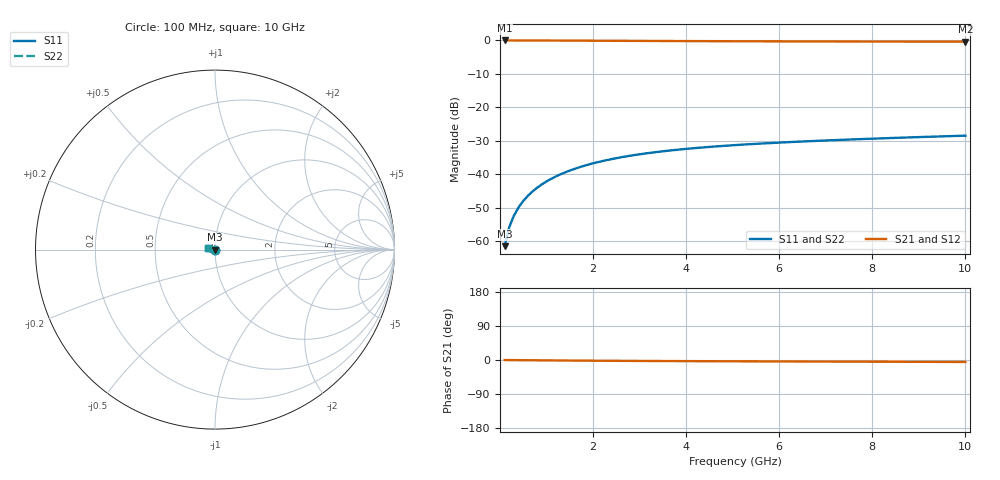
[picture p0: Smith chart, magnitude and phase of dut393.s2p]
! Touchstone file exported from HFSS 2024.1.0
!  File:  C:/UserFiles/LocalFiles/RDL_TSV_Batchsim/temp_TSV1_393_1779624048.aedt
!  Generated:  08:09:18 PM May 24, 2026
!  Design:  TSV1
!  Project:  temp_TSV1_393_1779624048
!  Setup:  Setup1
!  Solution:  Sweep
! Variables:
!  dtsv = 6.84um
!  hbump = 3um
!  htsv = 79.5um
!  lrdl = 252.1521522um
!  p = 40
!  p1 = 43.45um
!  t = 500um
!  trdl = 3um
!  wrdl = 24.89489489um
# GHz S MA R 50.000000
! Terminal data exported
! Port[1] = TSV22_T1
! Port[2] = TSV22_T2
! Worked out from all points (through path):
!   100 points, 100 MHz to 10 GHz, reference 50 ohm
!   highest |S21| = 0.00 dB at 100 MHz (marker M1); lowest = -0.4 dB at 10 GHz (marker M2)
!   lowest |S11| = -61.4 dB at 100 MHz (marker M3), VSWR 1.00, Z = 50 - j0.0803 ohm
!   |S11| at or under -10 dB: start of sweep to end of sweep
!   |S22| runs from -61.4 to -28.4 dB; largest |S21 - S12| = 2e-15
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0.1  0.0008506 -70.7  0.9997 -0.1  0.9997 -0.1  0.0008506 -70.7
! Gamma 0 0 0 0
! Port Impedance 50 0 50 0
0.2  0.001634 -82.6  0.9996 -0.2  0.9996 -0.2  0.001634 -82.6
0.3  0.00243 -88.0  0.9994 -0.3  0.9994 -0.3  0.00243 -88.0
0.4  0.003225 -91.6  0.9993 -0.4  0.9993 -0.4  0.003225 -91.6
0.5  0.004017 -94.5  0.999 -0.5  0.999 -0.5  0.004017 -94.5
0.6  0.004803 -97.0  0.9987 -0.6  0.9987 -0.6  0.004803 -97.0
0.7  0.005581 -99.2  0.9984 -0.7  0.9984 -0.7  0.005581 -99.2
0.8  0.006352 -101.4  0.9981 -0.8  0.9981 -0.8  0.006352 -101.4
0.9  0.007113 -103.4  0.9977 -0.9  0.9977 -0.9  0.007113 -103.4
1.1  0.008602 -107.3  0.9968 -1.1  0.9968 -1.1  0.008602 -107.3
1.4  0.01075 -112.7  0.9951 -1.4  0.9951 -1.4  0.01075 -112.7
1.6  0.01211 -116.1  0.9939 -1.5  0.9939 -1.5  0.01211 -116.1
1.8  0.01341 -119.4  0.9927 -1.7  0.9927 -1.7  0.01341 -119.4
2.1  0.01525 -124.2  0.9907 -1.9  0.9907 -1.9  0.01525 -124.2
2.5  0.0175 -130.1  0.9879 -2.2  0.9879 -2.2  0.0175 -130.1
2.9  0.01952 -135.6  0.9852 -2.4  0.9852 -2.4  0.01952 -135.6
3.4  0.02175 -142.0  0.9819 -2.7  0.9819 -2.7  0.02175 -142.0
4.2  0.02477 -151.1  0.9772 -3.1  0.9772 -3.1  0.02477 -151.1
5.1  0.02755 -160.0  0.9728 -3.4  0.9728 -3.4  0.02755 -160.0
6.7  0.03149 -173.1  0.9669 -4.0  0.9669 -4.0  0.03149 -173.1
8.4  0.03496 175.6  0.9626 -4.6  0.9626 -4.6  0.03496 175.6
10  0.03794 166.8  0.9597 -5.1  0.9597 -5.1  0.03794 166.8
